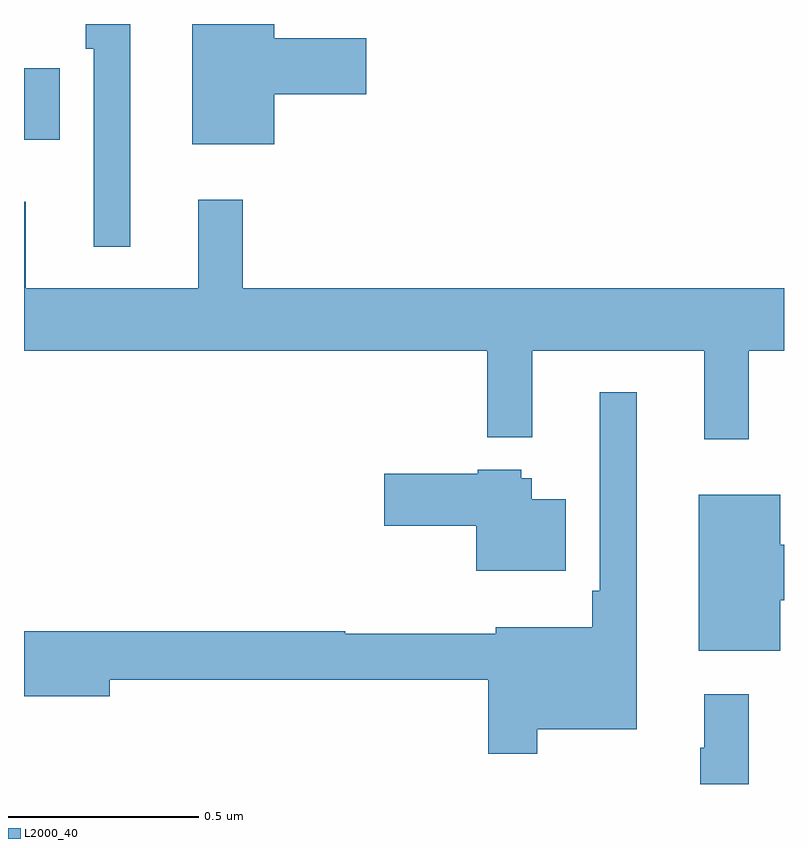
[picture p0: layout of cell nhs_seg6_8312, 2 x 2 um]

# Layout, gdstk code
import gdstk
lib = gdstk.Library(unit=1e-6, precision=1e-09)
def R(c, l, rs):  # rectangles x0, y0, x1, y1
    for r in rs: c.add(gdstk.rectangle(r[:2], r[2:], *l))
def P(c, l, *ps):  # polygons
    for p in ps: c.add(gdstk.Polygon(p, *l))
L2000_40 = (2000, 40)

nhs_seg6_8312 = lib.new_cell('nhs_seg6_8312')
R(nhs_seg6_8312, L2000_40, [(219,977.195,219.094,977.383)])
P(nhs_seg6_8312, L2000_40, [(219.28,977.5),(219.163,977.5),(219.163,977.435),(219.183,977.435),(219.183,976.914),(219.28,976.914)],
  [(219.658,977.315),(219.901,977.315),(219.901,977.462),(219.658,977.462),(219.658,977.5),(219.443,977.5),(219.443,977.183),(219.658,977.183)],
  [(220.907,976.64),(221,976.64),(221,976.804),(219.575,976.804),(219.575,977.038),(219.458,977.038),(219.458,976.804),(219.005,976.804),(219.005,977.032),(219,977.032),(219,976.64),(220.219,976.64),(220.219,976.412),(220.337,976.412),(220.337,976.64),(220.79,976.64),(220.79,976.407),(220.907,976.407)],
  [(220.351,975.644),(220.612,975.644),(220.612,976.531),(220.515,976.531),(220.515,976.009),(220.495,976.009),(220.495,975.913),(220.241,975.913),(220.241,975.895),(219.845,975.895),(219.845,975.902),(219,975.902),(219,975.731),(219.226,975.731),(219.226,975.774),(220.222,975.774),(220.222,975.579),(220.351,975.579)],
  [(220.426,976.249),(220.336,976.249),(220.336,976.305),(220.308,976.305),(220.308,976.327),(220.194,976.327),(220.194,976.317),(219.948,976.317),(219.948,976.18),(220.19,976.18),(220.19,976.061),(220.426,976.061)],
  [(220.99,975.983),(221,975.983),(221,976.13),(220.99,976.13),(220.99,976.261),(220.775,976.261),(220.775,975.851),(220.99,975.851)],
  [(220.907,975.736),(220.79,975.736),(220.79,975.596),(220.779,975.596),(220.779,975.5),(220.907,975.5)])

lib.write_gds('nhs_seg6_8312.gds')
